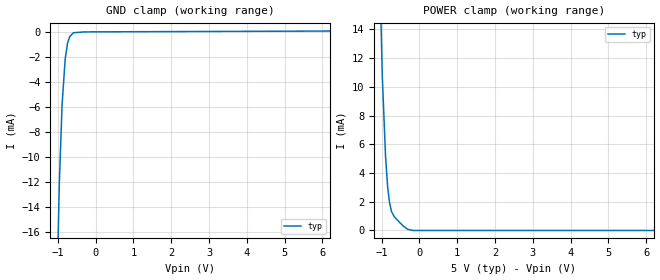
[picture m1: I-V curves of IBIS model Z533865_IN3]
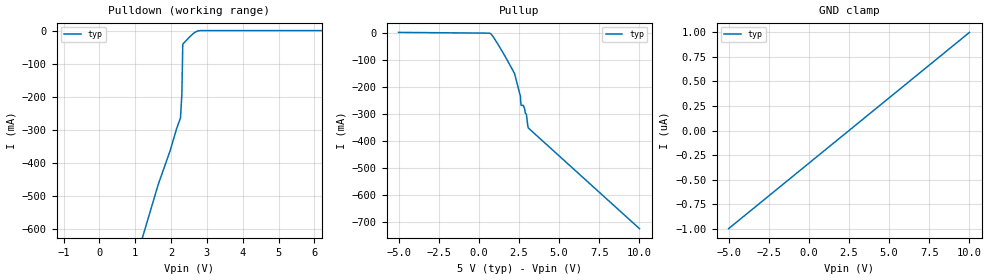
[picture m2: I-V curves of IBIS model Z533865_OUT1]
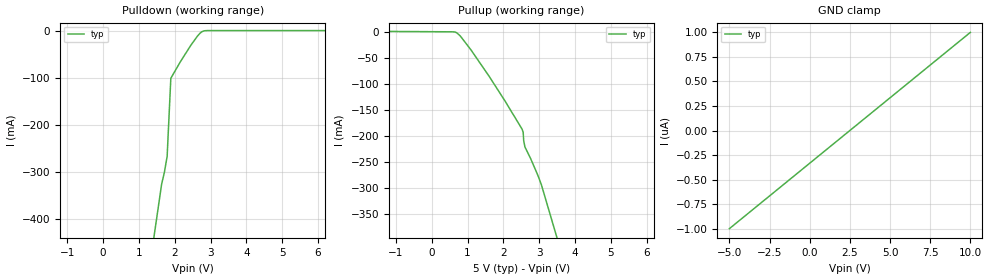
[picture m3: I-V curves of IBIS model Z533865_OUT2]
| YOU ARE ONLY AUTHORIZED TO USE THIS SOFTWARE
| ACCORDING TO LICENSOR'S LICENSE RESTRICTIONS.
[IBIS Ver] 3.1
[File Name] mc100el13dw_50.ibs
[File Rev] 3.0
[Source] Measured and created by ICX Technology
[Date] 10/7/2003
[Copyright]
| (C) COPYRIGHT 1993-2000
| MENTOR GRAPHICS CORPORATION
| ICX STANDARD LIBRARY, ICX PROJECT MODELING,
| ICX CUSTOM MODELING, ICX VENDOR MODEL
| ALL RIGHTS RESERVED.
| THE FOLLOWING ARE TRADEMARKS OR SERVICE MARKS OF
| MENTOR GRAPHICS CORPORATION:ICX (R), ICX STANDARD
| LIBRARY(R), ICX PROJECT MODELING(R), ICX CUSTOM
| MODELING(R), qualityIBIS(TM), MODELVIEWER(TM),
| AND MODELEDITOR(TM)
| ALL COPIES OF SOFTWARE, INCLUDING BUT NOT LIMITED TO
| ANY MODIFICATIONS, ENHANCEMENTS OR DERIVATIVE WORKS,
| MUST CONTAIN ALL MENTOR GRAPHICS CORPORATION'S
| NOTICES AND LEGENDS, INCLUDING THOSE EMBEDDED IN
| SOFTWARE AND THOSE AFFIXED TO SOFTWARE MEDIUM
| AND CONTAINER, AS RECEIVED FROM MENTOR GRAPHICS
| CORPORATION.
|  ZAP Model Builder 2.7
[Component] MC100EL13DW_50
[Manufacturer] OnSemiconductor
[Package]
| variable   typ   min   max
R_pkg  .158ohms NA NA
L_pkg  3.37nH NA NA
C_pkg  .4pF NA NA
[Pin] signal_name  model_name  R_pin  L_pin C_pin
1 _Q0A Z533865_OUT1 .166 4.25n .44p
2 Q0A Z533865_OUT2 .162 3.8n .42p
3 VCC POWER .158 3.36n .4p
4 CLKA Z533865_IN3 .154 2.93n .38p
5 _CLKA Z533865_IN4 .15 2.51n .36p
6 CLKB Z533865_IN3 .15 2.51n .36p
7 _CLKB Z533865_IN4 .154 2.93n .38p
8 VCC POWER .158 3.36n .4p
9 _Q0B Z533865_OUT5 .162 3.8n .42p
10 Q0B Z533865_OUT6 .166 4.25n .44p
11 VEE GND .166 4.25n .44p
12 _Q1B Z533865_OUT5 .162 3.8n .42p
13 Q1B Z533865_OUT6 .158 3.36n .4p
14 _Q2B Z533865_OUT5 .154 2.93n .38p
15 Q2B Z533865_OUT6 .15 2.51n .36p
16 VCC POWER .15 2.51n .36p
17 _Q2A Z533865_OUT1 .154 2.93n .38p
18 Q2A Z533865_OUT2 .158 3.36n .4p
19 _Q1A Z533865_OUT1 .162 3.8n .42p
20 Q1A Z533865_OUT2 .166 4.25n .44p
| Models and submodels in the file (6): Z533865_IN3 (Input), Z533865_IN4 (Input), Z533865_OUT1 (Output), Z533865_OUT2 (Output), Z533865_OUT5 (Output), Z533865_OUT6 (Output)
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| (C) COPYRIGHT 1993-2000
| MENTOR GRAPHICS CORPORATION
| ICX STANDARD LIBRARY, ICX PROJECT MODELING,
| ICX CUSTOM MODELING, ICX VENDOR MODEL
| ALL RIGHTS RESERVED.
| THE FOLLOWING ARE TRADEMARKS OR SERVICE MARKS OF
| MENTOR GRAPHICS CORPORATION:ICX (R), ICX STANDARD
| LIBRARY(R), ICX PROJECT MODELING(R), ICX CUSTOM
| MODELING(R), qualityIBIS(TM), MODELVIEWER(TM),
| AND MODELEDITOR(TM)
| ALL COPIES OF SOFTWARE, INCLUDING BUT NOT LIMITED TO
| ANY MODIFICATIONS, ENHANCEMENTS OR DERIVATIVE WORKS,
| MUST CONTAIN ALL MENTOR GRAPHICS CORPORATION'S
| NOTICES AND LEGENDS, INCLUDING THOSE EMBEDDED IN
| SOFTWARE AND THOSE AFFIXED TO SOFTWARE MEDIUM
| AND CONTAINER, AS RECEIVED FROM MENTOR GRAPHICS
| CORPORATION.
| Model Application Version 1.89 2/18/99.
[Model] Z533865_IN3
Model_type Input
Vinl = 3.325V
Vinh = 3.835V
C_comp 2.000pF NA NA
| variable typ   min   max
[Voltage Range] 5.000V NA NA
[GND Clamp Reference] 0.000V NA NA
[POWER Clamp Reference] 5.000V NA NA
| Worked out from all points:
|   GND clamp passes 1 mA (typ) near -0.75 V on its own axis
|   POWER clamp passes 1 mA (typ) near -0.67 V on its own axis
[GND Clamp]
-5V       -563.8mA   NA         NA
-961.6mV  -12.23mA   NA         NA
-888.7mV  -5.901mA   NA         NA
-805.7mV  -2.188mA   NA         NA
-741.7mV  -888.4uA   NA         NA
-683.1mV  -386.7uA   NA         NA
-586.7mV  -87.81uA   NA         NA
-293.4mV  -18.35uA   NA         NA
10V       90.15uA    NA         NA
[POWER Clamp]
-5V       455.3mA    NA         NA
-981mV    10.7mA     NA         NA
-895mV    5.142mA    NA         NA
-840mV    3.03mA     NA         NA
-791mV    1.952mA    NA         NA
-736mV    1.307mA    NA         NA
-660mV    939.4uA    NA         NA
-430mV    313.3uA    NA         NA
-309mV    79.1uA     NA         NA
-154.5mV  0A         NA         NA
10V       0A         NA         NA
| (C) COPYRIGHT 1993-2000
| MENTOR GRAPHICS CORPORATION
| ICX STANDARD LIBRARY, ICX PROJECT MODELING,
| ICX CUSTOM MODELING, ICX VENDOR MODEL
| ALL RIGHTS RESERVED.
| THE FOLLOWING ARE TRADEMARKS OR SERVICE MARKS OF
| MENTOR GRAPHICS CORPORATION:ICX (R), ICX STANDARD
| LIBRARY(R), ICX PROJECT MODELING(R), ICX CUSTOM
| MODELING(R), qualityIBIS(TM), MODELVIEWER(TM),
| AND MODELEDITOR(TM)
| ALL COPIES OF SOFTWARE, INCLUDING BUT NOT LIMITED TO
| ANY MODIFICATIONS, ENHANCEMENTS OR DERIVATIVE WORKS,
| MUST CONTAIN ALL MENTOR GRAPHICS CORPORATION'S
| NOTICES AND LEGENDS, INCLUDING THOSE EMBEDDED IN
| SOFTWARE AND THOSE AFFIXED TO SOFTWARE MEDIUM
| AND CONTAINER, AS RECEIVED FROM MENTOR GRAPHICS
| CORPORATION.
| Model Application Version 1.89 2/18/99.
[Model] Z533865_OUT1
Model_type Output
Vref=3.000V
Rref=50.0ohms
Cref=0.000F
Vmeas=3.670V
C_comp 2.000pF NA NA
| variable typ   min   max
[Voltage Range] 5.000V NA NA
[POWER Clamp Reference] 5.000V NA NA
[Pullup Reference] 5.000V NA NA
[Pulldown Reference] 0.000V NA NA
[GND Clamp Reference] 0.000V NA NA
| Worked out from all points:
|   slope of the pulldown table from 0 to 0.75 V, typ, clamps not added: 2.75 ohm
|   slope of the pullup table from 0 to 0.75 V, typ, clamps not added: 227 ohm
[GND Clamp]
-5V       -1uA       NA         NA
10V       1uA        NA         NA
[Pulldown]
-5V       -2.883A    NA         NA
1.641V    -463.9mA   NA         NA
1.973V    -362.2mA   NA         NA
2.158V    -294.1mA   NA         NA
2.262V    -263.4mA   NA         NA
2.3V      -191.8mA   NA         NA
2.326V    -40.69mA   NA         NA
2.627V    -8.062mA   NA         NA
2.742V    -1.118mA   NA         NA
10V       254.9uA    NA         NA
[Pullup]
-5V       2.645mA    NA         NA
762mV     -3.614mA   NA         NA
2.222V    -149.5mA   NA         NA
2.592V    -235.2mA   NA         NA
2.601V    -254.2mA   NA         NA
2.635V    -267.4mA   NA         NA
2.773V    -267.4mA   NA         NA
2.894V    -296.7mA   NA         NA
2.959V    -300.9mA   NA         NA
3.047V    -343.6mA   NA         NA
3.079V    -351.2mA   NA         NA
10V       -723.9mA   NA         NA
[POWER Clamp]
-5V       0A         NA         NA
10V       0A         NA         NA
[Ramp]
| variable typ min max
dV/dt_r 376.1m/277.8p NA NA
dV/dt_f 376.1m/312.1p NA NA
R_load = 50.0Ohms
| (C) COPYRIGHT 1993-2000
| MENTOR GRAPHICS CORPORATION
| ICX STANDARD LIBRARY, ICX PROJECT MODELING,
| ICX CUSTOM MODELING, ICX VENDOR MODEL
| ALL RIGHTS RESERVED.
| THE FOLLOWING ARE TRADEMARKS OR SERVICE MARKS OF
| MENTOR GRAPHICS CORPORATION:ICX (R), ICX STANDARD
| LIBRARY(R), ICX PROJECT MODELING(R), ICX CUSTOM
| MODELING(R), qualityIBIS(TM), MODELVIEWER(TM),
| AND MODELEDITOR(TM)
| ALL COPIES OF SOFTWARE, INCLUDING BUT NOT LIMITED TO
| ANY MODIFICATIONS, ENHANCEMENTS OR DERIVATIVE WORKS,
| MUST CONTAIN ALL MENTOR GRAPHICS CORPORATION'S
| NOTICES AND LEGENDS, INCLUDING THOSE EMBEDDED IN
| SOFTWARE AND THOSE AFFIXED TO SOFTWARE MEDIUM
| AND CONTAINER, AS RECEIVED FROM MENTOR GRAPHICS
| CORPORATION.
| Model Application Version 1.89 2/18/99.
[Model] Z533865_OUT2
Model_type Output
Vref=3.000V
Rref=50.0ohms
Cref=0.000F
Vmeas=3.670V
C_comp 2.000pF NA NA
| variable typ   min   max
[Voltage Range] 5.000V NA NA
[POWER Clamp Reference] 5.000V NA NA
[Pullup Reference] 5.000V NA NA
[Pulldown Reference] 0.000V NA NA
[GND Clamp Reference] 0.000V NA NA
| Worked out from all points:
|   slope of the pulldown table from 0 to 0.75 V, typ, clamps not added: 1.91 ohm
|   slope of the pullup table from 0 to 0.75 V, typ, clamps not added: 142 ohm
[GND Clamp]
-5V       -1uA       NA         NA
10V       1uA        NA         NA
[Pulldown]
-5V       -3.795A    NA         NA
1.632V    -325.7mA   NA         NA
1.709V    -300.4mA   NA         NA
1.787V    -266.5mA   NA         NA
1.89V     -100.8mA   NA         NA
2.153V    -66.21mA   NA         NA
2.451V    -30.57mA   NA         NA
2.632V    -11.62mA   NA         NA
2.763V    -1.942mA   NA         NA
2.9V      222.7uA    NA         NA
10V       256uA      NA         NA
[Pullup]
-5V       2.451mA    NA         NA
662mV     -681.1uA   NA         NA
796mV     -7.939mA   NA         NA
1.089V    -34.19mA   NA         NA
1.592V    -84.58mA   NA         NA
2.519V    -187mA     NA         NA
2.553V    -193.3mA   NA         NA
2.568V    -209.7mA   NA         NA
2.602V    -221.7mA   NA         NA
2.759V    -243.7mA   NA         NA
3.061V    -294.3mA   NA         NA
10V       -1.921A    NA         NA
[POWER Clamp]
-5V       0A         NA         NA
10V       0A         NA         NA
[Ramp]
| variable typ min max
dV/dt_r 376.1m/277.8p NA NA
dV/dt_f 376.1m/312.1p NA NA
R_load = 50.0Ohms
